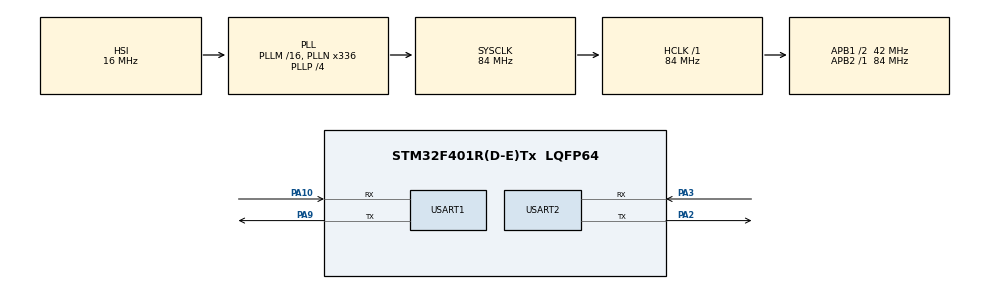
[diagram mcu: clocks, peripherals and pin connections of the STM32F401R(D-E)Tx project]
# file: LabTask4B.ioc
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Mcu.Family=STM32F4
Mcu.Name=STM32F401R(D-E)Tx
Mcu.Package=LQFP64
NVIC.PriorityGroup=NVIC_PRIORITYGROUP_4
NVIC.USART1_IRQn=true\:0\:0\:false\:false\:true\:true\:true\:true
NVIC.USART2_IRQn=true\:0\:0\:false\:false\:true\:true\:true\:true
PA10.Mode=Asynchronous
PA10.Signal=USART1_RX
PA2.Mode=Asynchronous
PA2.Signal=USART2_TX
PA3.Mode=Asynchronous
PA3.Signal=USART2_RX
PA9.Mode=Asynchronous
PA9.Signal=USART1_TX
ProjectManager.HeapSize=0x200
ProjectManager.StackSize=0x400
ProjectManager.TargetToolchain=STM32CubeIDE
RCC.48MHZClocksFreq_Value=84000000
RCC.AHBFreq_Value=84000000
RCC.APB1CLKDivider=RCC_HCLK_DIV2
RCC.APB1Freq_Value=42000000
RCC.APB1TimFreq_Value=84000000
RCC.APB2Freq_Value=84000000
RCC.APB2TimFreq_Value=84000000
RCC.CortexFreq_Value=84000000
RCC.HCLKFreq_Value=84000000
RCC.HSE_VALUE=25000000
RCC.HSI_VALUE=16000000
RCC.LSE_VALUE=32768
RCC.PLLN=336
RCC.PLLP=RCC_PLLP_DIV4
RCC.SYSCLKFreq_VALUE=84000000
RCC.SYSCLKSource=RCC_SYSCLKSOURCE_PLLCLK
RCC.VCOOutputFreq_Value=336000000
TIM2.Prescaler=83
USART1.VirtualMode=VM_ASYNC
USART2.VirtualMode=VM_ASYNC
VP_TIM2_VS_ClockSourceINT.Mode=Internal
board=custom

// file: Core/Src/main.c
/* USER CODE BEGIN Header */
/**
  ******************************************************************************
  * @file           : main.c
  * @brief          : Main program body
  ******************************************************************************
  * @attention
  *
  * Copyright (c) 2026 STMicroelectronics.
  * All rights reserved.
  *
  * This software is licensed under terms that can be found in the LICENSE file
  * in the root directory of this software component.
  * If no LICENSE file comes with this software, it is provided AS-IS.
  *
  ******************************************************************************
  */
/* USER CODE END Header */
#include "main.h"
#include <stdio.h>

TIM_HandleTypeDef htim2;

UART_HandleTypeDef huart1;
UART_HandleTypeDef huart2;

/* USER CODE BEGIN PV */
uint8_t sequence = 0;
uint16_t lower_bound_pulse_width = 1000;

uint32_t commands_sent = 0;
uint32_t ack_first_try = 0;
uint32_t commands_retried = 0;
uint32_t commands_failed = 0;

uint32_t rtt_total_us = 0;
uint32_t rtt_min_us = 0xFFFFFFFF;
uint32_t rtt_max_us = 0;
uint32_t rtt_samples = 0;

uint32_t experiment_start_ms = 0;

volatile uint16_t latest_measured_pulse_us = 0;
volatile uint32_t telemetry_frames_received = 0;
volatile uint32_t telemetry_gaps = 0;

uint8_t last_telemetry_count = 0;
uint8_t telemetry_count_initialized = 0;
/* USER CODE END PV */

void SystemClock_Config(void);
static void MX_GPIO_Init(void);
static void MX_USART1_UART_Init(void);
static void MX_USART2_UART_Init(void);
static void MX_TIM2_Init(void);

/* USER CODE BEGIN 0 */

uint16_t CRC16_MODBUS(uint8_t *data, uint16_t length)
{
    uint16_t crc = 0xFFFF;

    for (uint16_t i = 0; i < length; i++)
    {
        crc ^= data[i];

        for (uint8_t bit = 0; bit < 8; bit++)
        {
            if (crc & 1)
                crc = (crc >> 1) ^ 0xA001;
            else
                crc >>= 1;
        }
    }

    return crc;
}

/* ---------- Frame structure ---------- */

typedef struct
{
    uint8_t type;
    uint8_t length;
    uint8_t payload[4];
} UART_Frame;

/* ---------- Send SET_PULSE command ---------- */

void SendPulseCommand(uint16_t pulse_us, uint8_t seq)
{
    uint8_t frame[8];

    frame[0] = 0xA5;
    frame[1] = 0x04;
    frame[2] = 0x01;
    frame[3] = seq;
    frame[4] = pulse_us & 0xFF;
    frame[5] = (pulse_us >> 8) & 0xFF;

    uint16_t crc = CRC16_MODBUS(&frame[1], 5);

    frame[6] = crc & 0xFF;
    frame[7] = (crc >> 8) & 0xFF;

    HAL_UART_Transmit(&huart1, frame, sizeof(frame), 100);
}

/* ---------- Receive and validate one frame ---------- */

uint8_t ReceiveFrame(UART_Frame *frame, uint32_t timeout_ms)
{
    uint32_t start_ms = HAL_GetTick();

    while ((HAL_GetTick() - start_ms) < timeout_ms)
    {
        uint8_t start;
        uint8_t length;
        uint8_t payload[4];
        uint8_t crc_bytes[2];

        uint32_t elapsed = HAL_GetTick() - start_ms;
        uint32_t remaining = timeout_ms - elapsed;

        if (HAL_UART_Receive(&huart1, &start, 1, remaining) != HAL_OK)
            return 0;

        if (start != 0xA5)
            continue;

        elapsed = HAL_GetTick() - start_ms;
        if (elapsed >= timeout_ms)
            return 0;

        remaining = timeout_ms - elapsed;

        if (HAL_UART_Receive(&huart1, &length, 1, remaining) != HAL_OK)
            return 0;

        // ACK payload length = 3; telemetry payload length = 4
        if (length != 3 && length != 4)
            continue;

        elapsed = HAL_GetTick() - start_ms;
        if (elapsed >= timeout_ms)
            return 0;

        remaining = timeout_ms - elapsed;

        if (HAL_UART_Receive(&huart1, payload, length, remaining) != HAL_OK)
            return 0;

        elapsed = HAL_GetTick() - start_ms;
        if (elapsed >= timeout_ms)
            return 0;

        remaining = timeout_ms - elapsed;

        if (HAL_UART_Receive(&huart1, crc_bytes, 2, remaining) != HAL_OK)
            return 0;

        // CRC covers LENGTH + PAYLOAD
        uint8_t crc_data[5];
        crc_data[0] = length;

        for (uint8_t i = 0; i < length; i++)
            crc_data[i + 1] = payload[i];

        uint16_t calculated_crc =
            CRC16_MODBUS(crc_data, length + 1);

        uint16_t received_crc =
            (uint16_t)crc_bytes[0] |
            ((uint16_t)crc_bytes[1] << 8);

        if (received_crc != calculated_crc)
            continue;

        // Store the validated frame
        frame->length = length;
        frame->type = payload[0];

        for (uint8_t i = 0; i < length; i++)
            frame->payload[i] = payload[i];

        return 1;
    }

    return 0;
}

/* ---------- Process ACK or telemetry ---------- */

// Returns:
// 0 = telemetry, unrelated frame, or invalid ACK
// 1 = matching ACK accepted
// 2 = matching ACK rejected

uint8_t ProcessFrame(const UART_Frame *frame, uint8_t expected_seq)
{
    // ACK: A5 03 81 SEQ STATUS CRC_LO CRC_HI
    if (frame->type == 0x81 && frame->length == 3)
    {
        uint8_t seq = frame->payload[1];
        uint8_t status = frame->payload[2];

        if (seq != expected_seq)
            return 0;

        if (status == 0x00)
            return 1;

        if (status == 0x01)
            return 2;

        return 0;
    }

    // Telemetry: A5 04 82 COUNT PULSE_LO PULSE_HI CRC_LO CRC_HI
    if (frame->type == 0x82 && frame->length == 4)
    {
        uint8_t count = frame->payload[1];

        latest_measured_pulse_us =
            (uint16_t)frame->payload[2] |
            ((uint16_t)frame->payload[3] << 8);

        telemetry_frames_received++;

        if (telemetry_count_initialized &&
            count != (uint8_t)(last_telemetry_count + 1))
        {
            telemetry_gaps++;
        }

        last_telemetry_count = count;
        telemetry_count_initialized = 1;

        return 0;
    }

    return 0;
}

/* ---------- Send command and wait for its ACK ---------- */

void SendCommandWithAck(uint16_t pulse_us)
{
    uint8_t seq = sequence++;
    uint8_t result = 0;
    uint8_t retries_used = 0;
    uint32_t successful_rtt_us = 0;

    commands_sent++;

    for (uint8_t attempt = 0; attempt <= 3; attempt++)
    {
        uint32_t start_us = __HAL_TIM_GET_COUNTER(&htim2);

        SendPulseCommand(pulse_us, seq);

        uint32_t wait_start = HAL_GetTick();
        result = 0;

        while ((HAL_GetTick() - wait_start) < 20)
        {
            uint32_t elapsed = HAL_GetTick() - wait_start;
            uint32_t remaining = 20 - elapsed;

            UART_Frame frame;

            if (!ReceiveFrame(&frame, remaining))
                break;

            result = ProcessFrame(&frame, seq);

            if (result == 1 || result == 2)
                break;
        }

        uint32_t end_us = __HAL_TIM_GET_COUNTER(&htim2);
        uint32_t rtt_us = end_us - start_us;

        if (result == 1)
        {
            successful_rtt_us = rtt_us;
            retries_used = attempt;
            break;
        }

        if (result == 2)
        {
            printf("SEQ=%u rejected: invalid pulse\r\n", seq);
            return;
        }

        if (attempt < 3)
        {
            printf("SEQ=%u retry %u\r\n", seq, attempt + 1);
        }
    }

    if (result != 1)
    {
        commands_failed++;
        printf("SEQ=%u FAILED after 3 retries\r\n", seq);
        return;
    }

    if (retries_used == 0)
        ack_first_try++;
    else
        commands_retried++;

    rtt_total_us += successful_rtt_us;
    rtt_samples++;

    if (successful_rtt_us < rtt_min_us)
        rtt_min_us = successful_rtt_us;

    if (successful_rtt_us > rtt_max_us)
        rtt_max_us = successful_rtt_us;

    uint32_t elapsed_ms = HAL_GetTick() - experiment_start_ms;

    printf("%lu.%03lu s  seq=%3u  SET %4u us  ACK ok  RTT %lu us\r\n",
           (unsigned long)(elapsed_ms / 1000),
           (unsigned long)(elapsed_ms % 1000),
           seq,
           pulse_us,
           (unsigned long)successful_rtt_us);

    printf("Commanded: %u us | Measured: %u us | Error: %d us\r\n",
           pulse_us,
           latest_measured_pulse_us,
           (int)latest_measured_pulse_us - (int)pulse_us);
}

/* USER CODE END 0 */

//uint16_t CRC16_MODBUS(uint8_t *data, uint16_t length)
//{
//    uint16_t crc = 0xFFFF;
//
//    for (uint16_t i = 0; i < length; i++)
//    {
//        crc ^= data[i];
//
//        for (uint8_t bit = 0; bit < 8; bit++)
//        {
//            if (crc & 1)
//                crc = (crc >> 1) ^ 0xA001;
//            else
//                crc >>= 1;
//        }
//    }
//
//    return crc;
//}
//
//void SendPulseCommand(uint16_t pulse_us, uint8_t seq)
//{
//    uint8_t frame[8];
//
//    frame[0] = 0xA5;              // Start byte
//    frame[1] = 0x04;              // Payload length
//    frame[2] = 0x01;              // SET_PULSE
//    frame[3] = seq;               // Sequence number
//    frame[4] = pulse_us & 0xFF;   // Pulse low byte
//    frame[5] = pulse_us >> 8;      // Pulse high byte
//
//    uint16_t crc = CRC16_MODBUS(&frame[1], 5);
//
//    frame[6] = crc & 0xFF;         // CRC low byte
//    frame[7] = crc >> 8;           // CRC high byte
//
//    HAL_UART_Transmit(&huart1, frame, 8, 100);
//}
//
//
//uint8_t ReceiveAck(uint8_t expected_seq, uint32_t timeout_ms)
//{
//    uint32_t start_ms = HAL_GetTick();
//
//    while ((HAL_GetTick() - start_ms) < timeout_ms)
//    {
//        uint8_t start;
//        uint8_t length;
//        uint8_t payload[8];
//        uint8_t crc_bytes[2];
//
//        uint32_t elapsed = HAL_GetTick() - start_ms;
//        uint32_t remaining = timeout_ms - elapsed;
//
//        if (HAL_UART_Receive(&huart1, &start, 1, remaining) != HAL_OK)
//            return 0;
//
//        // Ignore bytes until the start marker
//        if (start != 0xA5)
//            continue;
//
//        remaining = timeout_ms - (HAL_GetTick() - start_ms);
//        if (remaining == 0 ||
//            HAL_UART_Receive(&huart1, &length, 1, remaining) != HAL_OK)
//            return 0;
//
//        // Length includes message type and other payload fields
//        if (length < 1 || length > sizeof(payload))
//            continue;
//
//        remaining = timeout_ms - (HAL_GetTick() - start_ms);
//        if (remaining == 0 ||
//            HAL_UART_Receive(&huart1, payload, length, remaining) != HAL_OK)
//            return 0;
//
//        remaining = timeout_ms - (HAL_GetTick() - start_ms);
//        if (remaining == 0 ||
//            HAL_UART_Receive(&huart1, crc_bytes, 2, remaining) != HAL_OK)
//            return 0;
//
//        // CRC covers length followed by the entire payload
//        uint8_t crc_data[9];
//        crc_data[0] = length;
//
//        for (uint8_t i = 0; i < length; i++)
//            crc_data[i + 1] = payload[i];
//
//        uint16_t calculated_crc =
//            CRC16_MODBUS(crc_data, length + 1);
//
//        uint16_t received_crc =
//            (uint16_t)crc_bytes[0] |
//            ((uint16_t)crc_bytes[1] << 8);
//
//        if (received_crc != calculated_crc)
//            continue;
//
//        // Telemetry frame: A5 04 82 COUNT PULSE_LO PULSE_HI CRC_LO CRC_HI
//        if (payload[0] == 0x82 && length == 4)
//        {
//            uint8_t count = payload[1];
//
//            latest_measured_pulse_us =
//                (uint16_t)payload[2] |
//                ((uint16_t)payload[3] << 8);
//
//            telemetry_frames_received++;
//
//            if (telemetry_count_initialized &&
//                count != (uint8_t)(last_telemetry_count + 1))
//            {
//                telemetry_gaps++;
//            }
//
//            last_telemetry_count = count;
//            telemetry_count_initialized = 1;
//
//            continue;  // Keep waiting for our ACK
//        }
//
//        // ACK frame: A5 03 81 SEQ STATUS CRC_LO CRC_HI
//        if (payload[0] == 0x81 && length == 3)
//        {
//            if (payload[1] != expected_seq)
//                continue;
//
//            if (payload[2] == 0x00)
//                return 1;  // ACK accepted
//
//            if (payload[2] == 0x01)
//                return 2;  // ACK rejected
//
//            continue;
//        }
//    }
//
//    return 0; // Timeout
//}
//
//
//void SendCommandWithAck(uint16_t pulse_us)
//{
//    uint8_t seq = sequence++;
//    uint8_t result = 0;
//    uint32_t successful_rtt_us = 0;
//    uint8_t retries_used = 0;
//
//    commands_sent++;
//
//    for (uint8_t attempt = 0; attempt <= 3; attempt++)
//    {
//        uint32_t start_us = __HAL_TIM_GET_COUNTER(&htim2);
//
//        SendPulseCommand(pulse_us, seq);
//
//        result = ReceiveAck(seq, 20);
//
//        uint32_t end_us = __HAL_TIM_GET_COUNTER(&htim2);
//        uint32_t rtt_us = end_us - start_us;
//
//        if (result == 1)
//        {
//            successful_rtt_us = rtt_us;
//            retries_used = attempt;
//            break;
//        }
//
//        if (result == 2)
//        {
//            // Valid ACK, but Board A rejected the pulse
//            printf("SEQ=%u rejected: invalid pulse\r\n", seq);
//            return;
//        }
//
//        if (attempt < 3)
//        {
//            printf("SEQ=%u retry %u\r\n",
//                   seq, attempt + 1);
//        }
//    }
//
//    if (result != 1)
//    {
//        commands_failed++;
//        printf("SEQ=%u FAILED after 3 retries\r\n", seq);
//        return;
//    }
//
//    if (retries_used == 0)
//        ack_first_try++;
//    else
//        commands_retried++;
//
//    rtt_total_us += successful_rtt_us;
//    rtt_samples++;
//
//    if (successful_rtt_us < rtt_min_us)
//        rtt_min_us = successful_rtt_us;
//
//    if (successful_rtt_us > rtt_max_us)
//        rtt_max_us = successful_rtt_us;
//
//    uint32_t elapsed_ms = HAL_GetTick() - experiment_start_ms;
//
//    printf("%lu.%03lu s  seq=%3u  SET %4u us  ACK ok  rtt %lu us\r\n",
//           (unsigned long)(elapsed_ms / 1000),
//           (unsigned long)(elapsed_ms % 1000),
//           seq,
//           pulse_us,
//           (unsigned long)successful_rtt_us);
//
//    printf("Telemetry frames: %lu\r\n",
//           (unsigned long)telemetry_frames_received);
//
//    printf("Telemetry gaps: %lu\r\n",
//           (unsigned long)telemetry_gaps);
//}
//
//uint8_t ProcessFrame(const UART_Frame *frame, uint8_t expected_seq)
//{
//    // ACK: A5 03 81 SEQ STATUS CRC_LO CRC_HI
//    if (frame->type == 0x81 && frame->length == 3)
//    {
//        uint8_t seq = frame->payload[1];
//        uint8_t status = frame->payload[2];
//
//        if (seq != expected_seq)
//            return 0;
//
//        if (status == 0x00)
//            return 1;
//
//        if (status == 0x01)
//            return 2;
//
//        return 0;
//    }
//
//    // Telemetry: A5 04 82 COUNT PULSE_LO PULSE_HI CRC_LO CRC_HI
//    if (frame->type == 0x82 && frame->length == 4)
//    {
//        uint8_t count = frame->payload[1];
//
//        latest_measured_pulse_us =
//            (uint16_t)frame->payload[2] |
//            ((uint16_t)frame->payload[3] << 8);
//
//        telemetry_frames_received++;
//
//        if (telemetry_count_initialized &&
//            count != (uint8_t)(last_telemetry_count + 1))
//        {
//            telemetry_gaps++;
//        }
//
//        last_telemetry_count = count;
//        telemetry_count_initialized = 1;
//
//        return 0;
//    }
//
//    // Unknown message type
//    return 0;
//}
//
//
//
//uint8_t ReceiveFrame(UART_Frame *frame, uint32_t timeout_ms)
//{
//    uint32_t start_ms = HAL_GetTick();
//
//    while ((HAL_GetTick() - start_ms) < timeout_ms)
//    {
//        uint8_t start;
//        uint8_t length;
//        uint8_t payload[4];
//        uint8_t crc_bytes[2];
//
//        uint32_t elapsed = HAL_GetTick() - start_ms;
//        uint32_t remaining = timeout_ms - elapsed;
//
//        if (HAL_UART_Receive(&huart1, &start, 1, remaining) != HAL_OK)
//            return 0;
//
//        // Find the frame start byte
//        if (start != 0xA5)
//            continue;
//
//        elapsed = HAL_GetTick() - start_ms;
//        if (elapsed >= timeout_ms)
//            return 0;
//
//        remaining = timeout_ms - elapsed;
//
//        if (HAL_UART_Receive(&huart1, &length, 1, remaining) != HAL_OK)
//            return 0;
//
//        // Our protocol supports ACK (length 3) and telemetry (length 4)
//        if (length != 3 && length != 4)
//            continue;
//
//        elapsed = HAL_GetTick() - start_ms;
//        if (elapsed >= timeout_ms)
//            return 0;
//
//        remaining = timeout_ms - elapsed;
//
//        if (HAL_UART_Receive(&huart1, payload, length, remaining) != HAL_OK)
//            return 0;
//
//        elapsed = HAL_GetTick() - start_ms;
//        if (elapsed >= timeout_ms)
//            return 0;
//
//        remaining = timeout_ms - elapsed;
//
//        if (HAL_UART_Receive(&huart1, crc_bytes, 2, remaining) != HAL_OK)
//            return 0;
//
//        // CRC covers LENGTH + PAYLOAD
//        uint8_t crc_data[5];
//        crc_data[0] = length;
//
//        for (uint8_t i = 0; i < length; i++)
//            crc_data[i + 1] = payload[i];
//
//        uint16_t calculated_crc =
//            CRC16_MODBUS(crc_data, length + 1);
//
//        uint16_t received_crc =
//            (uint16_t)crc_bytes[0] |
//            ((uint16_t)crc_bytes[1] << 8);
//
//        if (received_crc != calculated_crc)
//            continue;
//
//        // Copy the validated frame to the output structure
//        frame->length = length;
//        frame->type = payload[0];
//
//        for (uint8_t i = 0; i < length; i++)
//            frame->payload[i] = payload[i];
//
//        return 1;
//    }
//
//    return 0;
//}
//
//
//

void Run1000Commands(void)
{
    while (commands_sent < 1000)
    {
        SendCommandWithAck(lower_bound_pulse_width + commands_sent);
        HAL_Delay(100);
    }

    printf("\r\n===== 1000 COMMAND SUMMARY =====\r\n");

    printf("Commands sent: %lu\r\n",
           (unsigned long)commands_sent);

    printf("ACKed first try: %lu\r\n",
           (unsigned long)ack_first_try);

    printf("Needed retries: %lu\r\n",
           (unsigned long)commands_retried);

    printf("Failed: %lu\r\n",
           (unsigned long)commands_failed);

    if (rtt_samples > 0)
    {
        printf("Mean RTT: %lu us\r\n",
               (unsigned long)(rtt_total_us / rtt_samples));

        printf("Worst successful RTT: %lu us\r\n",
               (unsigned long)rtt_max_us);

        printf("Best successful RTT: %lu us\r\n",
               (unsigned long)rtt_min_us);
    }

    printf("\r\n===== TELEMETRY SUMMARY =====\r\n");

    printf("Telemetry frames received: %lu\r\n",
           (unsigned long)telemetry_frames_received);

    printf("Telemetry sequence gaps: %lu\r\n",
           (unsigned long)telemetry_gaps);

    printf("Latest measured pulse: %u us\r\n",
           latest_measured_pulse_us);

    printf("================================\r\n");

    while (1)
    {
        HAL_Delay(1000);
    }
}

/* USER CODE END 0 */

int main(void)
{

  /* MCU Configuration--------------------------------------------------------*/

  /* Reset of all peripherals, Initializes the Flash interface and the Systick. */
  HAL_Init();

  /* Configure the system clock */
  SystemClock_Config();

  /* Initialize all configured peripherals */
  MX_GPIO_Init();
  MX_USART1_UART_Init();
  MX_USART2_UART_Init();
  MX_TIM2_Init();
  /* USER CODE BEGIN 2 */
  HAL_TIM_Base_Start(&htim2);
  experiment_start_ms = HAL_GetTick();
  /* USER CODE END 2 */

  /* Infinite loop */
  /* USER CODE BEGIN WHILE */
  while (1)
  {
      Run1000Commands();
  }
  /* USER CODE END 3 */
}

void SystemClock_Config(void)
{
  RCC_OscInitTypeDef RCC_OscInitStruct = {0};
  RCC_ClkInitTypeDef RCC_ClkInitStruct = {0};

  /** Configure the main internal regulator output voltage
  */
  __HAL_RCC_PWR_CLK_ENABLE();
  __HAL_PWR_VOLTAGESCALING_CONFIG(PWR_REGULATOR_VOLTAGE_SCALE2);

  /** Initializes the RCC Oscillators according to the specified parameters
  * in the RCC_OscInitTypeDef structure.
  */
  RCC_OscInitStruct.OscillatorType = RCC_OSCILLATORTYPE_HSI;
  RCC_OscInitStruct.HSIState = RCC_HSI_ON;
  RCC_OscInitStruct.HSICalibrationValue = RCC_HSICALIBRATION_DEFAULT;
  RCC_OscInitStruct.PLL.PLLState = RCC_PLL_ON;
  RCC_OscInitStruct.PLL.PLLSource = RCC_PLLSOURCE_HSI;
  RCC_OscInitStruct.PLL.PLLM = 16;
  RCC_OscInitStruct.PLL.PLLN = 336;
  RCC_OscInitStruct.PLL.PLLP = RCC_PLLP_DIV4;
  RCC_OscInitStruct.PLL.PLLQ = 4;
  if (HAL_RCC_OscConfig(&RCC_OscInitStruct) != HAL_OK)
  {
    Error_Handler();
  }

  /** Initializes the CPU, AHB and APB buses clocks
  */
  RCC_ClkInitStruct.ClockType = RCC_CLOCKTYPE_HCLK|RCC_CLOCKTYPE_SYSCLK
                              |RCC_CLOCKTYPE_PCLK1|RCC_CLOCKTYPE_PCLK2;
  RCC_ClkInitStruct.SYSCLKSource = RCC_SYSCLKSOURCE_PLLCLK;
  RCC_ClkInitStruct.AHBCLKDivider = RCC_SYSCLK_DIV1;
  RCC_ClkInitStruct.APB1CLKDivider = RCC_HCLK_DIV2;
  RCC_ClkInitStruct.APB2CLKDivider = RCC_HCLK_DIV1;

  if (HAL_RCC_ClockConfig(&RCC_ClkInitStruct, FLASH_LATENCY_2) != HAL_OK)
  {
    Error_Handler();
  }
}

static void MX_TIM2_Init(void)
{

  TIM_ClockConfigTypeDef sClockSourceConfig = {0};
  TIM_MasterConfigTypeDef sMasterConfig = {0};

  htim2.Instance = TIM2;
  htim2.Init.Prescaler = 83;
  htim2.Init.CounterMode = TIM_COUNTERMODE_UP;
  htim2.Init.Period = 4294967295;
  htim2.Init.ClockDivision = TIM_CLOCKDIVISION_DIV1;
  htim2.Init.AutoReloadPreload = TIM_AUTORELOAD_PRELOAD_DISABLE;
  if (HAL_TIM_Base_Init(&htim2) != HAL_OK)
  {
    Error_Handler();
  }
  sClockSourceConfig.ClockSource = TIM_CLOCKSOURCE_INTERNAL;
  if (HAL_TIM_ConfigClockSource(&htim2, &sClockSourceConfig) != HAL_OK)
  {
    Error_Handler();
  }
  sMasterConfig.MasterOutputTrigger = TIM_TRGO_RESET;
  sMasterConfig.MasterSlaveMode = TIM_MASTERSLAVEMODE_DISABLE;
  if (HAL_TIMEx_MasterConfigSynchronization(&htim2, &sMasterConfig) != HAL_OK)
  {
    Error_Handler();
  }

}

static void MX_USART1_UART_Init(void)
{

  huart1.Instance = USART1;
  huart1.Init.BaudRate = 115200;
  huart1.Init.WordLength = UART_WORDLENGTH_8B;
  huart1.Init.StopBits = UART_STOPBITS_1;
  huart1.Init.Parity = UART_PARITY_NONE;
  huart1.Init.Mode = UART_MODE_TX_RX;
  huart1.Init.HwFlowCtl = UART_HWCONTROL_NONE;
  huart1.Init.OverSampling = UART_OVERSAMPLING_16;
  if (HAL_UART_Init(&huart1) != HAL_OK)
  {
    Error_Handler();
  }

}

static void MX_USART2_UART_Init(void)
{

  huart2.Instance = USART2;
  huart2.Init.BaudRate = 115200;
  huart2.Init.WordLength = UART_WORDLENGTH_8B;
  huart2.Init.StopBits = UART_STOPBITS_1;
  huart2.Init.Parity = UART_PARITY_NONE;
  huart2.Init.Mode = UART_MODE_TX_RX;
  huart2.Init.HwFlowCtl = UART_HWCONTROL_NONE;
  huart2.Init.OverSampling = UART_OVERSAMPLING_16;
  if (HAL_UART_Init(&huart2) != HAL_OK)
  {
    Error_Handler();
  }

}

static void MX_GPIO_Init(void)
{

  /* GPIO Ports Clock Enable */
  __HAL_RCC_GPIOA_CLK_ENABLE();

}

/* USER CODE BEGIN 4 */
int __io_putchar(int ch)
{
    HAL_UART_Transmit(&huart2, (uint8_t *)&ch, 1, HAL_MAX_DELAY);
    return ch;
}
/* USER CODE END 4 */

void Error_Handler(void)
{
  __disable_irq();
  while (1)
  {
  }
}
